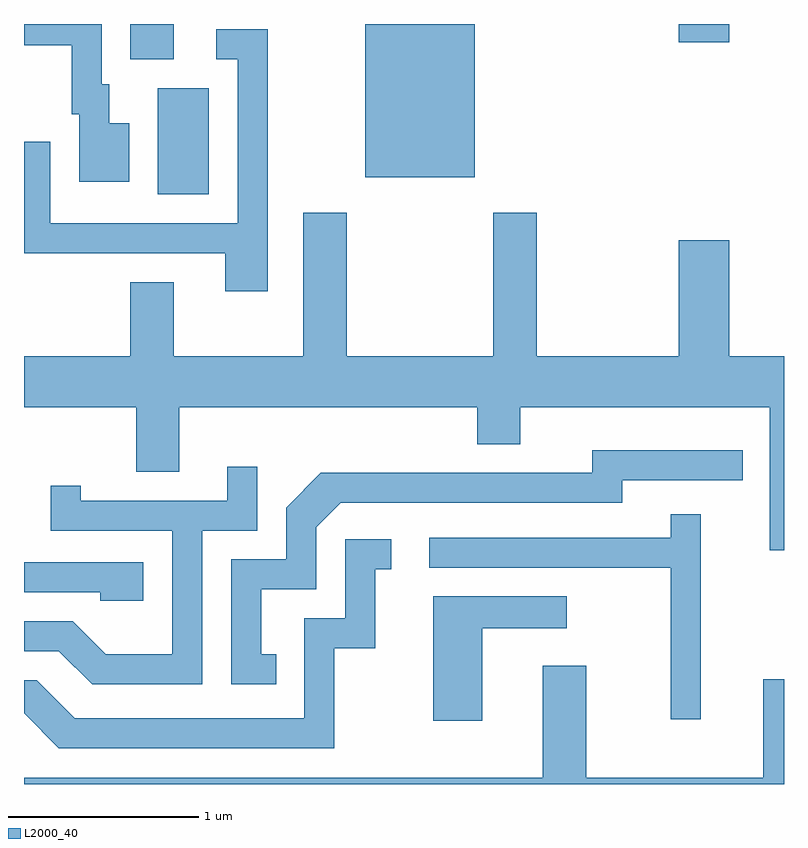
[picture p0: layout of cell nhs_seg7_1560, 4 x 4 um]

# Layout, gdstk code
import gdstk
lib = gdstk.Library(unit=1e-6, precision=1e-09)
def R(c, l, rs):  # rectangles x0, y0, x1, y1
    for r in rs: c.add(gdstk.rectangle(r[:2], r[2:], *l))
def P(c, l, *ps):  # polygons
    for p in ps: c.add(gdstk.Polygon(p, *l))
L2000_40 = (2000, 40)

nhs_seg7_1560 = lib.new_cell('nhs_seg7_1560')
R(nhs_seg7_1560, L2000_40, [(232.316,1795.356,232.584,1795.914), (233.406,1795.446,233.984,1796.252), (232.171,1796.066,232.399,1796.252), (235.056,1796.156,235.324,1796.252)])
P(nhs_seg7_1560, L2000_40, [(232.164,1795.729),(232.059,1795.729),(232.059,1795.934),(232.019,1795.934),(232.019,1796.252),(231.611,1796.252),(231.611,1796.141),(231.861,1796.141),(231.861,1795.776),(231.901,1795.776),(231.901,1795.421),(232.164,1795.421)],
  [(232.894,1796.224),(232.623,1796.224),(232.623,1796.066),(232.736,1796.066),(232.736,1795.204),(231.749,1795.204),(231.749,1795.633),(231.611,1795.633),(231.611,1795.046),(232.671,1795.046),(232.671,1794.846),(232.894,1794.846)],
  [(232.171,1794.504),(231.611,1794.504),(231.611,1794.236),(232.201,1794.236),(232.201,1793.896),(232.429,1793.896),(232.429,1794.236),(233.996,1794.236),(233.996,1794.041),(234.224,1794.041),(234.224,1794.236),(235.536,1794.236),(235.536,1793.483),(235.611,1793.483),(235.611,1794.504),(235.324,1794.504),(235.324,1795.114),(235.056,1795.114),(235.056,1794.504),(234.309,1794.504),(234.309,1795.259),(234.081,1795.259),(234.081,1794.504),(233.309,1794.504),(233.309,1795.259),(233.081,1795.259),(233.081,1794.504),(232.399,1794.504),(232.399,1794.894),(232.171,1794.894)],
  [(232.938,1792.934),(232.859,1792.934),(232.859,1793.276),(233.149,1793.276),(233.149,1793.604),(233.277,1793.731),(234.759,1793.731),(234.759,1793.851),(235.393,1793.851),(235.393,1794.009),(234.601,1794.009),(234.601,1793.889),(233.174,1793.889),(232.991,1793.707),(232.991,1793.434),(232.701,1793.434),(232.701,1792.776),(232.938,1792.776)],
  [(232.549,1793.586),(232.839,1793.586),(232.839,1793.923),(232.681,1793.923),(232.681,1793.744),(231.909,1793.744),(231.909,1793.823),(231.751,1793.823),(231.751,1793.586),(232.391,1793.586),(232.391,1792.934),(232.042,1792.934),(231.867,1793.109),(231.611,1793.109),(231.611,1792.951),(231.794,1792.951),(231.969,1792.776),(232.549,1792.776)],
  [(235.174,1793.673),(235.016,1793.673),(235.016,1793.549),(233.743,1793.549),(233.743,1793.391),(235.016,1793.391),(235.016,1792.593),(235.174,1792.593)],
  [(233.244,1792.966),(233.459,1792.966),(233.459,1793.381),(233.543,1793.381),(233.543,1793.539),(233.301,1793.539),(233.301,1793.124),(233.086,1793.124),(233.086,1792.599),(231.877,1792.599),(231.677,1792.799),(231.611,1792.799),(231.611,1792.624),(231.794,1792.441),(233.244,1792.441)],
  [(232.239,1793.419),(231.611,1793.419),(231.611,1793.261),(232.011,1793.261),(232.011,1793.216),(232.239,1793.216)],
  [(234.024,1793.071),(234.468,1793.071),(234.468,1793.239),(233.766,1793.239),(233.766,1792.586),(234.024,1792.586)],
  [(235.611,1792.804),(235.501,1792.804),(235.501,1792.284),(234.569,1792.284),(234.569,1792.874),(234.341,1792.874),(234.341,1792.284),(231.611,1792.284),(231.611,1792.252),(235.611,1792.252)])

lib.write_gds('nhs_seg7_1560.gds')
